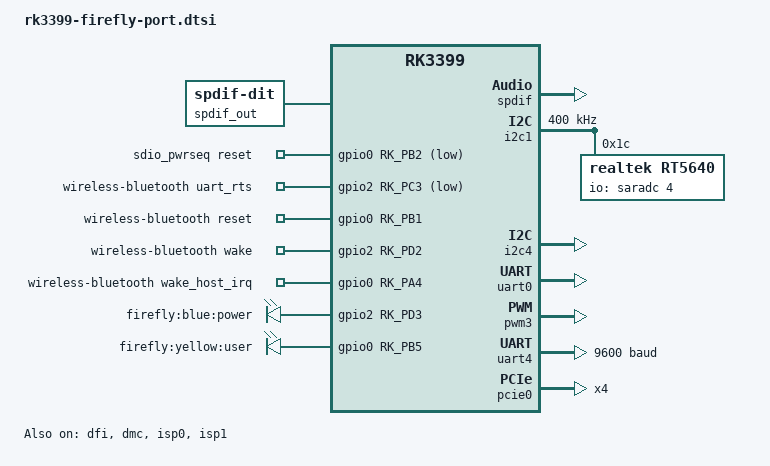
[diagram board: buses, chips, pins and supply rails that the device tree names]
/*
 * Copyright (c) 2016 Fuzhou Rockchip Electronics Co., Ltd
 *
 * This file is dual-licensed: you can use it either under the terms
 * of the GPL or the X11 license, at your option. Note that this dual
 * licensing only applies to this file, and not this project as a
 * whole.
 *
 *  a) This file is free software; you can redistribute it and/or
 *     modify it under the terms of the GNU General Public License as
 *     published by the Free Software Foundation; either version 2 of the
 *     License, or (at your option) any later version.
 *
 *     This file is distributed in the hope that it will be useful,
 *     but WITHOUT ANY WARRANTY; without even the implied warranty of
 *     MERCHANTABILITY or FITNESS FOR A PARTICULAR PURPOSE.  See the
 *     GNU General Public License for more details.
 *
 * Or, alternatively,
 *
 *  b) Permission is hereby granted, free of charge, to any person
 *     obtaining a copy of this software and associated documentation
 *     files (the "Software"), to deal in the Software without
 *     restriction, including without limitation the rights to use,
 *     copy, modify, merge, publish, distribute, sublicense, and/or
 *     sell copies of the Software, and to permit persons to whom the
 *     Software is furnished to do so, subject to the following
 *     conditions:
 *
 *     The above copyright notice and this permission notice shall be
 *     included in all copies or substantial portions of the Software.
 *
 *     THE SOFTWARE IS PROVIDED "AS IS", WITHOUT WARRANTY OF ANY KIND,
 *     EXPRESS OR IMPLIED, INCLUDING BUT NOT LIMITED TO THE WARRANTIES
 *     OF MERCHANTABILITY, FITNESS FOR A PARTICULAR PURPOSE AND
 *     NONINFRINGEMENT. IN NO EVENT SHALL THE AUTHORS OR COPYRIGHT
 *     HOLDERS BE LIABLE FOR ANY CLAIM, DAMAGES OR OTHER LIABILITY,
 *     WHETHER IN AN ACTION OF CONTRACT, TORT OR OTHERWISE, ARISING
 *     FROM, OUT OF OR IN CONNECTION WITH THE SOFTWARE OR THE USE OR
 *     OTHER DEALINGS IN THE SOFTWARE.
 */

#include "rk3399-firefly-core.dtsi"
#include "rk3399-firefly-demo.dtsi"
#include <dt-bindings/input/input.h>

/ {
	compatible = "rockchip,rk3399-firefly-port", "rockchip,rk3399";

	rt5640_sound: rt5640-sound {
		compatible = "simple-audio-card";
		simple-audio-card,format = "i2s";
		simple-audio-card,name = "rockchip,rt5640-codec";
		simple-audio-card,mclk-fs = <256>;
		simple-audio-card,widgets =
			"Microphone", "Mic Jack",
			"Headphone", "Headphone Jack";
		simple-audio-card,routing =
			"Mic Jack", "MICBIAS1",
			"IN1P", "Mic Jack",
			"Headphone Jack", "HPOL",
			"Headphone Jack", "HPOR";
		simple-audio-card,cpu {
			sound-dai = <&i2s1>;
		};
		simple-audio-card,codec {
			sound-dai = <&rt5640>;
		};
	};

	es8323_sound: es8323-sound {
		status = "disabled";
		compatible = "simple-audio-card";
		simple-audio-card,format = "i2s";
		simple-audio-card,name = "rockchip,es8323-codec";
		simple-audio-card,mclk-fs = <256>;
		simple-audio-card,widgets =
			"Microphone", "Mic Jack",
			"Headphone", "Headphone Jack";
		simple-audio-card,routing =
			"Mic Jack", "MICBIAS1",
			"IN1P", "Mic Jack",
			"Headphone Jack", "HPOL",
			"Headphone Jack", "HPOR";
		simple-audio-card,cpu {
			sound-dai = <&i2s1>;
			system-clock-frequency = <11289600>;
		};
		simple-audio-card,codec {
			sound-dai = <&es8323>;
			system-clock-frequency = <11289600>;
		};
	};

	spdif_sound: spdif-sound {
		status = "disabled";
		compatible = "simple-audio-card";
		simple-audio-card,name = "ROCKCHIP,SPDIF";
		simple-audio-card,cpu {
			sound-dai = <&spdif>;
		};
		simple-audio-card,codec {
			sound-dai = <&spdif_out>;
		};
	};

	spdif_out: spdif-out {
		status = "okay";
		compatible = "linux,spdif-dit";
		#sound-dai-cells = <0>;
	};

    hdmi_dp_sound: hdmi-dp-sound {
        status = "disabled";
        compatible = "rockchip,rk3399-hdmi-dp";
        rockchip,cpu = <&i2s2>;
        rockchip,codec = <&hdmi>, <&cdn_dp>;
    };

    dp_sound: dp-sound {
        status = "disabled";
        compatible = "rockchip,cdndp-sound";
        rockchip,cpu = <&spdif>;
        rockchip,codec = <&cdn_dp>;
    };

    hdmi_sound: hdmi-sound {
        status = "disabled";
        compatible = "simple-audio-card";
        simple-audio-card,format = "i2s";
        simple-audio-card,mclk-fs = <256>;
        simple-audio-card,name = "rockchip,hdmi";


        simple-audio-card,cpu {
            sound-dai = <&i2s2>;
        };
        simple-audio-card,codec {
            sound-dai = <&hdmi>;
        };
    };   

	sdio_pwrseq: sdio-pwrseq {
		compatible = "mmc-pwrseq-simple";
		clocks = <&rk808 1>;
		clock-names = "ext_clock";
		pinctrl-names = "default";
		pinctrl-0 = <&wifi_enable_h>;

		/*
		 * On the module itself this is one of these (depending
		 * on the actual card populated):
		 * - SDIO_RESET_L_WL_REG_ON
		 * - PDN (power down when low)
		 */
		reset-gpios = <&gpio0 RK_PB2 GPIO_ACTIVE_LOW>; /* GPIO0_B2 */
	};


	wireless-bluetooth {
		compatible = "bluetooth-platdata";
		clocks = <&rk808 1>;
		clock-names = "ext_clock";
		//wifi-bt-power-toggle;
		uart_rts_gpios = <&gpio2 RK_PC3 GPIO_ACTIVE_LOW>; /* GPIO2_C3 */
		pinctrl-names = "default", "rts_gpio";
		pinctrl-0 = <&uart0_rts>;
		pinctrl-1 = <&uart0_gpios>;
		//BT,power_gpio  = <&gpio3 19 GPIO_ACTIVE_HIGH>; /* GPIOx_xx */
		BT,reset_gpio    = <&gpio0 RK_PB1 GPIO_ACTIVE_HIGH>; /* GPIO0_B1 */
		BT,wake_gpio     = <&gpio2 RK_PD2 GPIO_ACTIVE_HIGH>; /* GPIO2_D2 */
		BT,wake_host_irq = <&gpio0 RK_PA4 GPIO_ACTIVE_HIGH>; /* GPIO0_A4 */
		status = "okay";
	};

    firefly_leds: leds {
       compatible = "gpio-leds";
       power_led: power {
           label = "firefly:blue:power";
           linux,default-trigger = "ir-power-click";
           default-state = "on";
           gpios = <&gpio2 RK_PD3 GPIO_ACTIVE_HIGH>;
           pinctrl-names = "default";
           pinctrl-0 = <&led_power>;
       };

       user_led: user {
           label = "firefly:yellow:user";
           linux,default-trigger = "ir-user-click";
           default-state = "off";
           gpios = <&gpio0 RK_PB5 GPIO_ACTIVE_HIGH>;
           pinctrl-names = "default";
           pinctrl-0 = <&led_user>;
       };
   };

   hwversion: hwversion{
       status = "disabled";
       compatible = "firefly,hwversion";
  };
};

&dfi {
	status = "okay";
};

&dmc {
	status = "okay";
	center-supply = <&vdd_center>;
	upthreshold = <40>;
	downdifferential = <20>;
	system-status-freq = <
		/*system status         freq(KHz)*/
		SYS_STATUS_NORMAL       800000
		SYS_STATUS_REBOOT       528000
		SYS_STATUS_SUSPEND      200000
		SYS_STATUS_VIDEO_1080P  200000
		SYS_STATUS_VIDEO_4K     600000
		SYS_STATUS_VIDEO_4K_10B 800000
		SYS_STATUS_PERFORMANCE  800000
		SYS_STATUS_BOOST        400000
		SYS_STATUS_DUALVIEW     600000
		SYS_STATUS_ISP          600000
	>;
	vop-bw-dmc-freq = <
	/* min_bw(MB/s) max_bw(MB/s) freq(KHz) */
		0       577      200000
		578     1701     300000
		1702    99999    400000
	>;
	auto-min-freq = <200000>;
};

&spdif {
	status = "okay";
	pinctrl-0 = <&spdif_bus_1>;
	rockchip,playback-channels = <8>;
	rockchip,capture-channels = <8>;
	#sound-dai-cells = <0>;
};

&i2c1 {
	status = "okay";
	i2c-scl-rising-time-ns = <300>;
	i2c-scl-falling-time-ns = <15>;
	clock-frequency = <400000>;

    es8323: es8323@10 {
		compatible = "everest,es8323";
		reg = <0x10>;
		spk-ctl-gpio = <&gpio1 RK_PA0 GPIO_ACTIVE_HIGH>;
		clock-names = "mclk";
		clocks = <&cru SCLK_I2S_8CH_OUT>;
		pinctrl-names = "default";
		pinctrl-0 = <&i2s_8ch_mclk>;
		#sound-dai-cells = <0>;
		status = "disabled";
    };
	rt5640: rt5640@1c {
		#sound-dai-cells = <0>;
		compatible = "realtek,rt5640";
		reg = <0x1c>;
		clocks = <&cru SCLK_I2S_8CH_OUT>;
		clock-names = "mclk";
		realtek,in1-differential;
		pinctrl-names = "default";
        pinctrl-0 = <&i2s_8ch_mclk>;
        //hp-con-gpio = <&gpio4 RK_PC5 GPIO_ACTIVE_HIGH>;
		//hp-det-gpio = <&gpio4 RK_PD4 GPIO_ACTIVE_LOW>;
		io-channels = <&saradc 4>;
		hp-det-adc-value = <500>;
		status = "okay";
	};
	gti5801: gti5801@60 {
		compatible = "gyrfalcon,spr5801";
		reg = <0x60>;

		status = "disabled";
	};
};

&i2c4 {
	status = "okay";
	i2c-scl-rising-time-ns = <600>;
	i2c-scl-falling-time-ns = <20>;

	gsl3680: gsl3680@40 {
		status = "disabled";
		compatible = "gslX680";
		reg = <0x40>;
		screen_max_x = <800>;
		screen_max_y = <1280>;
		touch-gpio = <&gpio4 RK_PD4 IRQ_TYPE_LEVEL_LOW>;
		reset-gpio = <&gpio4 RK_PC5 GPIO_ACTIVE_HIGH>;
        flip-x = <0>;
        flip-y = <0>;
        swap-xy = <0>;
        gsl,fw = <0>;
	};

	mpu6500@68 {
		status = "disabled";
		compatible = "invensense,mpu6500";
		reg = <0x68>;
		irq-gpio = <&gpio1 RK_PC6 IRQ_TYPE_EDGE_RISING>;
		mpu-int_config = <0x10>;
		mpu-level_shifter = <0>;
		mpu-orientation = <0 1 0 1 0 0 0 0 1>;
		orientation-x= <1>;
		orientation-y= <0>;
		orientation-z= <0>;
		mpu-debug = <1>;
	};
};

&uart0 {
	pinctrl-names = "default";
	pinctrl-0 = <&uart0_xfer &uart0_cts>;
	status = "okay";
};

&rockchip_suspend {
	status = "okay";
	rockchip,sleep-debug-en = <1>;
	rockchip,sleep-mode-config = <
		(0
		| RKPM_SLP_ARMPD
		| RKPM_SLP_PERILPPD
		| RKPM_SLP_DDR_RET
		| RKPM_SLP_PLLPD
		| RKPM_SLP_CENTER_PD
		| RKPM_SLP_AP_PWROFF
		)
		>;
	rockchip,wakeup-config = <
		(0
		| RKPM_GPIO_WKUP_EN
		| RKPM_PWM_WKUP_EN
		)
		>;
		rockchip,pwm-regulator-config = <
		(0
		| PWM2_REGULATOR_EN
		)
		>;
		rockchip,power-ctrl =
		<&gpio1 RK_PC2 GPIO_ACTIVE_HIGH>,	// CPU_B_SLEEP_H
		<&gpio1 RK_PB6 GPIO_ACTIVE_HIGH>; 	// GPU_SLEEP_H
};

&pinctrl {
	sdio-pwrseq {
		wifi_enable_h: wifi-enable-h {
			rockchip,pins =
				<0 RK_PA2 RK_FUNC_GPIO &pcfg_pull_none>;
		};
	};

	wireless-bluetooth {
		uart0_gpios: uart0-gpios {
			rockchip,pins =
				<2 RK_PC3 RK_FUNC_GPIO &pcfg_pull_none>;
		};
	};

	rt5640 {
		//rt5640_hpcon: rt5640-hpcon {
			//rockchip,pins = <4 21 RK_FUNC_GPIO &pcfg_pull_none>;
		//};
	};

    leds {                                                                                                            
         led_power: led-power {                                                                    
             rockchip,pins = <2 RK_PD3 RK_FUNC_GPIO &pcfg_pull_none>;
         };

         led_user: led-user {
             rockchip,pins = <0 RK_PB5 RK_FUNC_GPIO &pcfg_pull_none>;
         };
    };
};


&pwm3 {
	status = "okay";
	interrupts = <GIC_SPI 61 IRQ_TYPE_LEVEL_HIGH 0>;
	compatible = "rockchip,remotectl-pwm";
	remote_pwm_id = <3>;
	handle_cpu_id = <0>;
	remote_support_psci = <1>;

    ir_key1{
        rockchip,usercode = <0xff00>;
        rockchip,key_table =
            <0xeb   KEY_POWER>,
            <0xec   KEY_MENU>,
            <0xfe   KEY_BACK>,
            <0xb7   KEY_HOME>,
            <0xa3   KEY_WWW>,
            <0xf4   KEY_VOLUMEUP>,
            <0xa7   KEY_VOLUMEDOWN>,
            <0xf8   KEY_REPLY>,
            <0xfc   KEY_UP>,
            <0xfd   KEY_DOWN>,
            <0xf1   KEY_LEFT>,
            <0xe5   KEY_RIGHT>;
    };
};


&uart4 {
       current-speed = <9600>;
       no-loopback-test;
       status = "okay";
};

&spi1 {
	status = "disabled";
	max-freq = <48000000>;
	dev-port = <0>;

	spi_wk2xxx: spi_wk2xxx@00{
		status = "disabled";
		compatible = "firefly,spi-wk2xxx";
		reg = <0x00>;
		spi-max-frequency = <10000000>;
		power-gpio = <&gpio2 RK_PA4 GPIO_ACTIVE_HIGH>;
		reset-gpio = <&gpio1 RK_PC1  GPIO_ACTIVE_HIGH>;
		irq-gpio = <&gpio1 RK_PA2 IRQ_TYPE_EDGE_FALLING>;
		cs-gpio = <&gpio1 RK_PB2 GPIO_ACTIVE_HIGH>;
		/* rk3399 driver support SPI_CPOL | SPI_CPHA | SPI_CS_HIGH */
		//spi-cpha;             /* SPI mode: CPHA=1 */
		//spi-cpol;     /* SPI mode: CPOL=1 */
		//spi-cs-high;
	};
};

&pcie0 {
	ep-gpios = <&gpio3 RK_PB5 GPIO_ACTIVE_HIGH>;
	num-lanes = <4>;
	pinctrl-names = "default";
	pinctrl-0 = <&pcie_clkreqn>;
	status = "okay";
};

&isp0 {
    status = "okay";
    rockchip,gpios = <&gpio1 RK_PC6 GPIO_ACTIVE_HIGH>;
};

&isp1 {
    status = "okay";
    rockchip,gpios = <&gpio1 RK_PC6 GPIO_ACTIVE_HIGH>;
};

&isp0_mmu {
    status = "okay";
};

&isp1_mmu {
    status = "okay";
};

